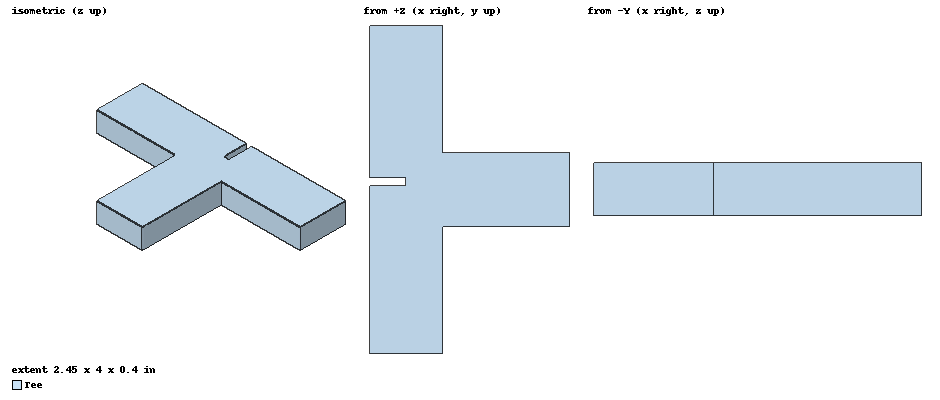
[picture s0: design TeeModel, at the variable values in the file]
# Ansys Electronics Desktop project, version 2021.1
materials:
  vacuum: permittivity=1

design TeeModel (HFSS, DrivenModal, model units in)
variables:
  offset = 0.0996in  # optimise 0in..0.2in
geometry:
  Tee [vacuum] = box(corner=(0in, -0.45in, 0in), size=(2in, 0.9in, 0.4in))
  Tee_1 = Tee.duplicate_around_axis(axis=Z, angle=90deg, total=2)
  Tee_2 = Tee.duplicate_around_axis(axis=Z, angle=-90deg, total=2)
  Tee.unite(Tee_2, Tee_1)
  sepyum = box(corner=(-0.45in, offset-0.05in, 0in), size=(0.45in, 0.1in, 0.4in))
  Tee.subtract(sepyum)
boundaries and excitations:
  P1: Wave Port Faces=Tee.face(+x) NumModes=1 Modes{Mode1{IntLine{middle of Tee.edge(5 of 12) -> middle of Tee.edge(1 of 12)} CharImp=Zpi}}
  P2: Wave Port Faces=Tee.face(6 of 6) NumModes=1 Modes{Mode1{IntLine{middle of Tee.edge(5 of 12) -> middle of Tee.edge(1 of 12)} CharImp=Zpi}}
  P3: Wave Port Faces=Tee.face(6 of 6) NumModes=1 Modes{Mode1{IntLine{middle of Tee.edge(5 of 12) -> middle of Tee.edge(1 of 12)} CharImp=Zpi}}
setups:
  Setup1: HfssDriven Frequency=10GHz MaxDeltaS=0.02 MaximumPasses=6 MinimumPasses=1 MinimumConvergedPasses=1 PercentRefinement=30 BasisOrder=1 PortAccuracy=2
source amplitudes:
  P1:1: 1W 0deg
  P2:1, P3:1: 0W 0deg
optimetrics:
  ParametricSetup1: Parametric Sim._Setups=[Setup1]
    sweep offset: LIN 0in 1in 0.1in
  OptimizationSetup1: Optimization Optimizer="Quasi Newton" AnalysisStopOptions{StopForNumIteration MaxNumIteration=1000 MinNumIteration=10} CostFuncNormType=L2 Acceptable_Cost=0.0005 Noise=1e-05 UpdateDesignWhenDone
    vary offset: Min=0in Max=0.2in MinStep=0.02in MaxStep=0.2in MinFocus=0in MaxFocus=0.2in start=0.1in
    goal Power31-2*Power21 == 0 weight 1 on Setup1 : LastAdaptive at Freq 10GHz
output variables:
  Power11 = mag(S(P1,P1))*mag(S(P1,P1))
  Power21 = mag(S(P2,P1))*mag(S(P2,P1))
  Power31 = mag(S(P3,P1))*mag(S(P3,P1))
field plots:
  Mag_E1: E Field over Tee.face(+z) on Setup1 : LastAdaptive at Freq=10GHz Phase=0deg
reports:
  Output Variables Plot 1: Power11, Power21, Power31 vs offset on Setup1 : LastAdaptive [Freq=all]; markers m1 at 0.10145228in, m2 at 0.26235741in, m3 at 0.1885546in, m4 at 0.24968314in
  Output Variables Table 1: Power21, Power31 vs offset on Setup1 : LastAdaptive [offset=0.0996in Freq=all]
  S Parameter Plot 1: mag(S(P1,P1)), mag(S(P2,P1)), mag(S(P3,P1)) vs Freq on Setup1 : LastAdaptive [offset=all]
